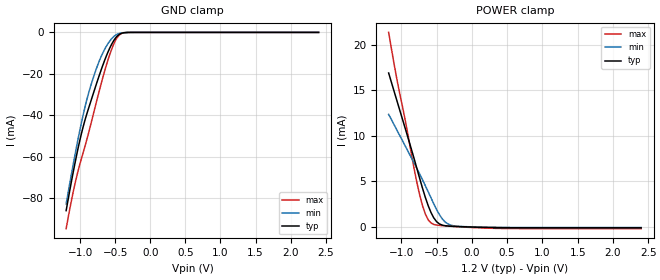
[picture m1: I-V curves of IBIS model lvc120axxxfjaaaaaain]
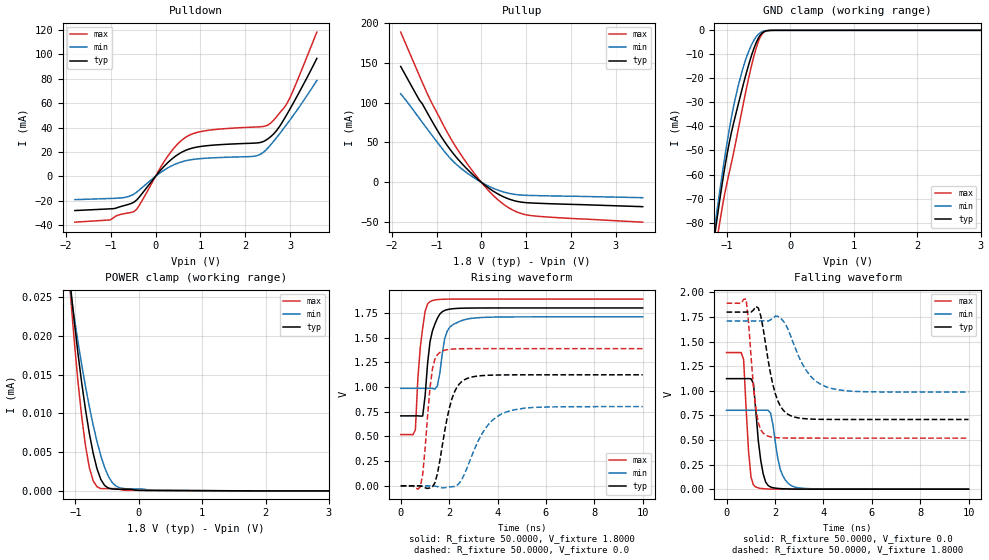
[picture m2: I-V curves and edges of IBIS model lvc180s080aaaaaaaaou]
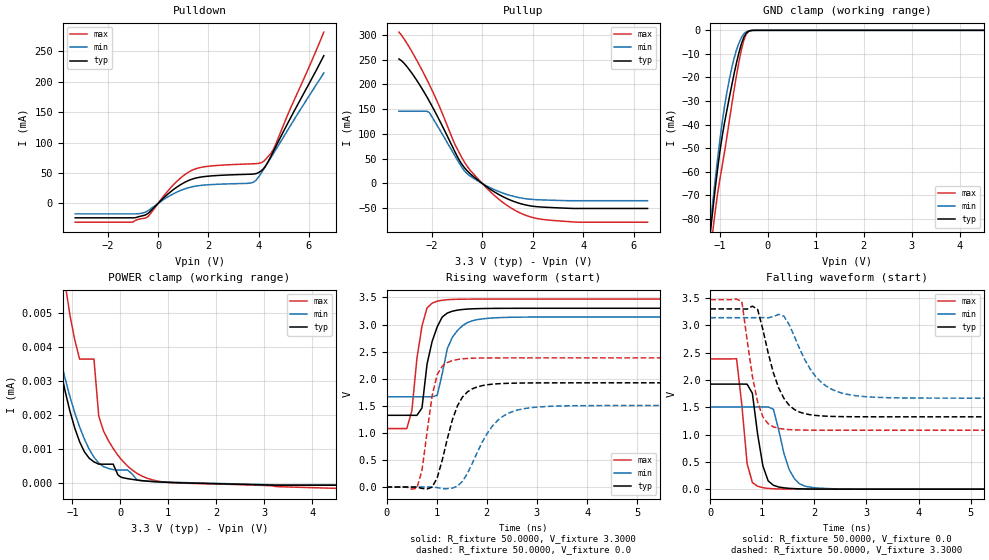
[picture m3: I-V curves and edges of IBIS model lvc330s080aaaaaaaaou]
| IBIS Models Generator: Lattice Diamond (64-bit) 3.12.1.454
| Generate date: Thu Oct 06 10:38:56 2022
| IBIS File LibisMaker.ibs
| LibisGen v2.0.1.0, 02/25/2008, Lattice Semiconductor Corporation
| Modified by LibisMaker v2.0.1.0, 02/25/2008, Lattice Semiconductor
| North Carolina State University, ERL, 2006
[IBIS ver]   3.2
[File Name]   common_impl1.ibs
[File Rev]   3.5
[Date]   Thu Sep 10 07:33:23 PDT 2020
[Source]   Lattice Semiconductor cs200fl Process
   LCMXO2-2000ZE   FINAL
   Lattice Semiconductor has worked hard to ensure the
   models below are accurate and complete.  However, the
   data below was generated using simulation of the
   input/output model files for the silicon.  Therefore,
   the data below is for reference and initial design
   purposes only.
   Lattice Semiconductor grants permission to use this
   data for use in printed circuit design using this
   Lattice programmable logic device.  Other use of this
   code, including the selling or duplication of any
   portion is strictly prohibited.
|   NAMING CONVENTION
   The IBIS [Model] header is limited by the specification to a
   total of characters.  With such a set of characters available
   for naming models it becomes important to attempt to
   meaningfully encode the IO standards so they fit within the
   twenty character limit.  It would seem that twenty characters
   would provide room enough for describing IO's.  However, the
   PLD IO structure continues to grow more and more complex.  The
   complexity is making the twenty characters insuffiently
   descriptive.  In order to overcome this issue the naming
   convention described below is implemented to resolve the issue.
The twenty character space is managed as follows:
   bbbvvvsdddprugtcoixx
   b = standard
   v = voltage (x.xx V)
   s = slew code
   d = drive (xx.x ma)
   p = pullup code
   r = series resistance  or bank_vccio code
   u = terminate to vcc code
   g = terminate to gnd code
   t = terminate to vtt code
   c = common mode termination mode
   o = diff resistor code
   i = diff resistor current code
   x = reserved
   standard
   lvcmos   lvc
   lvcmosd   lvd
   lvcmosr   lvr
   lvds25e   lve
   lvttl   lvt
   lvttld   ltd
   pci   pci
   sstl_I   ss1
   sstl_II   ss2
   sstld_I   s1d
   sstld_II   s2d
   hstl_i   hs1
   hstl_ii   hs2
   hstld_i   h1d
   hstld_ii   h2d
   lvds25   lvs
   blvds25   blv
   blvds25e   blv
   mlvds25   mlv
   mlvds25e   mlv
   lvpecl33   lvp
   lvpecl33e   lvp
   rsds25   rsd
   rsds25e   rse
   mipi   mip
   mipi_lp   mip
   vref1   vr1
   vref2   vr2
   ref_res   rer
   slew
   na   a
   fast   f
   slow   s
   pullmode
   off   a
   pullup   b
   pulldown   c
   bushold   d
   clamp   e
   up_clamp   f
   down_clamp   g
   keeper_clamp   h
   impedance or Bank_vccio
   off   a
   25   b
   33   c
   50   d
   100   e
   3.3   f
   2.5   g
   1.8   h
   1.5   i
   1.2   j
   termVCC
   off   a
   50   b
   100   c
   120   d
   termGND
   off   a
   50   b
   100   c
   120   d
   termVTT
   off   a
   60   b
   75   c
   120   d
   150   e
   210   f
   VCMT
   off   a
   VCMT   b
   VTT   c
   DDR-2   d
   differential resistor
   off   a
   100   b
   diff drive
   NA   a
   2.0   b
   3.5   c
   1.25   f
   2.5   g
   Reserved   IO type
   in   input only
   ou   output
   io   I/O
   od   Open drain
   on   Inverting differential I/O
   (signal name only)
   op   Non-Inverting differential I/O
   (signal name only)
   Lattice Semiconductor Corporation
   5555 NE Moore Court
   Hillsboro, OR 97214
   U.S.A
   TEL: 1-800-Lattice (USA and Canada)
   408-826-6000 (other locations)
   web: http://www.latticesemi.com/
   email: techsupport@latticesemi.com
[Disclaimer] This IBIS source code is intended as a design reference
   which illustrates how the Lattice Semiconductor device operates.
   It is the user's responsibility to verify their design for
   consistency and functionality through the use of formal
   verification methods.  Lattice Semiconductor provides no warranty
   regarding the use or functionality of this data.
[Copyright]   Copyright 2007 by Lattice Semiconductor Corporation
|   Component XO2
[Component]   XO2
[Manufacturer]   Lattice Semiconductor Corp.
[Package]
|TQFP100
| variable   typ   min   max
R_pkg   150.5m   124.0m   187.0m
L_pkg   6.27nH   5.50nH   7.16nH
C_pkg   0.95pF   0.87pF   1.07pF
[Pin] signal_name   model_name   R_pin   L_pin   C_pin
97   i_duty[0]   lvc120axxxfjaaaaaain
98   i_duty[1]   lvc120axxxfjaaaaaain
99   i_duty[2]   lvc120axxxfjaaaaaain
87   i_idle[0]   lvc120axxxfjaaaaaain
88   i_idle[1]   lvc120axxxfjaaaaaain
96   i_idle[2]   lvc120axxxfjaaaaaain
78   i_rst_n   lvc120axxxfjaaaaaain
77   i_start_btn   lvc120axxxfjaaaaaain
76   i_stop_btn   lvc120axxxfjaaaaaain
40   o_ano_bot   lvc180s080aaaaaaaaou
39   o_ano_top   lvc180s080aaaaaaaaou
42   o_cat_bot   lvc180s080aaaaaaaaou
41   o_cat_top   lvc180s080aaaaaaaaou
43   o_curr_ena   lvc180s080aaaaaaaaou
14   o_led_b   lvc330s080aaaaaaaaou
13   o_led_g   lvc330s080aaaaaaaaou
12   o_led_r   lvc330s080aaaaaaaaou
| Models and submodels in the file (3): lvc120axxxfjaaaaaain (Input), lvc180s080aaaaaaaaou (Output), lvc330s080aaaaaaaaou (Output)
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[Model]   lvc120axxxfjaaaaaain
Model_type   Input
Polarity   Non-Inverting
Enable   Active-Low
Vinl =   0.4200V
Vinh =   0.7800V
C_comp   4.2000pF   3.8000pF   7.5000pF
[Temperature Range]   25.0000   0.1050k   -40.0000
[Voltage Range]   1.2000V   1.1400V   1.2600V
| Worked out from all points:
|   GND clamp passes 1 mA (typ) near -0.44 V on its own axis
|   POWER clamp passes 1 mA (typ) near -0.54 V on its own axis
[GND_clamp]
|Voltage   I(typ)   I(min)   I(max)
-1.2V     -86.02mA   -82.79mA   -94.71mA
-1.1V     -67.56mA   -63.82mA   -77.09mA
-1V       -51.39mA   -46.46mA   -63.03mA
-920mV    -41mA      -34.44mA   -53.57mA
-840mV    -32.38mA   -24.74mA   -43.21mA
-740mV    -21.97mA   -14.85mA   -29.81mA
-640mV    -12.51mA   -7.478mA   -17.38mA
-580mV    -7.694mA   -4.26mA    -10.86mA
-520mV    -3.881mA   -1.989mA   -5.509mA
-440mV    -930.4uA   -470.4uA   -1.205mA
-300mV    -18.88uA   -16.34uA   -15.3uA
2.4V      0A         0A         0A
[POWER_clamp]
|Voltage   I(typ)   I(min)   I(max)
-1.18V    16.9mA     12.36mA    21.36mA
-1.06V    13.79mA    10.6mA     16.09mA
-940mV    10.69mA    8.822mA    11.54mA
-780mV    6.439mA    6.432mA    4.901mA
-700mV    4.263mA    5.185mA    2.349mA
-660mV    3.26mA     4.54mA     1.432mA
-580mV    1.601mA    3.213mA    447.8uA
-500mV    588.9uA    1.919mA    217.5uA
-420mV    211.3uA    900.6uA    152uA
-340mV    113.8uA    341.1uA    106.5uA
-260mV    75.42uA    135.6uA    65.45uA
2.4V      -83.82uA   -52.45uA   -176.9uA
[Model]   lvc180s080aaaaaaaaou
Model_type   Output
Polarity   Non-Inverting
Enable   Active-Low
Vmeas =   0.9000V
Cref =   0.0F
Rref =   1.0000M
Vref =   0.0V
C_comp   4.2000pF   3.8000pF   7.5000pF
[Temperature Range]   25.0000   0.1050k   -40.0000
[Voltage Range]   1.8000V   1.7100V   1.8900V
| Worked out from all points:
|   slope of the pulldown table from 0 to 0.27 V, typ, clamps not added: 24.3 ohm
|   slope of the pullup table from 0 to 0.27 V, typ, clamps not added: 24.1 ohm
|   GND clamp passes 1 mA (typ) near -0.44 V on its own axis
|   rising waveform, R_fixture 50.0000, V_fixture 1.8000: 20-80 % time 317ps typ, 313ps min, 267ps max; typ from 0.708 V to 1.8 V
|   rising waveform, R_fixture 50.0000, V_fixture 0.0: 20-80 % time 550ps typ, 995ps min, 303ps max; typ from 0 V to 1.12 V
|   falling waveform, R_fixture 50.0000, V_fixture 0.0: 20-80 % time 290ps typ, 361ps min, 202ps max; typ from 1.12 V to 0 V
|   falling waveform, R_fixture 50.0000, V_fixture 1.8000: 20-80 % time 532ps typ, 904ps min, 295ps max; typ from 1.8 V to 0.708 V
[Pulldown]
|Voltage   I(typ)   I(min)   I(max)
-1.8V     -28.04mA   -19.11mA   -37.59mA
-1.02V    -26.67mA   -18.17mA   -35.8mA
-480mV    -21.13mA   -14.49mA   -28.87mA
-360mV    -16.89mA   -11.13mA   -23.66mA
300mV     12.14mA    7.44mA     17.93mA
720mV     22mA       13.12mA    33.05mA
1.2V      25.28mA    15.01mA    37.83mA
2.22V     27.25mA    16.59mA    40.4mA
2.4V      28.42mA    19.5mA     40.82mA
2.58V     32.82mA    26.26mA    43.97mA
3V        55.16mA    46.16mA    64.46mA
3.6V      96.65mA    78.54mA    118.2mA
[Pullup]
|Voltage   I(typ)   I(min)   I(max)
-1.8V     145.2mA    111mA      188.3mA
-1.38V    102.7mA    79.92mA    133.3mA
-1.2V     86.47mA    66.31mA    110.3mA
-900mV    57.64mA    44.09mA    77.35mA
-660mV    38.42mA    28.01mA    52.66mA
-360mV    19.03mA    13.42mA    26.77mA
0V        -3.621nA   -3.321nA   -5.23nA
240mV     -10.15mA   -6.836mA   -15.04mA
480mV     -17.78mA   -11.81mA   -26.87mA
780mV     -23.67mA   -15.37mA   -36.89mA
1.08V     -25.78mA   -16.44mA   -41.49mA
3.6V      -30.51mA   -19.25mA   -49.97mA
[GND_clamp]
|Voltage   I(typ)   I(min)   I(max)
-1.8V     -240.2mA   -229.4mA   -254.3mA
-1.2V     -86.16mA   -82.91mA   -94.88mA
-1.17V    -80.45mA   -77.09mA   -89.3mA
-1.11V    -69.45mA   -65.77mA   -78.87mA
-1.02V    -54.48mA   -49.86mA   -65.69mA
-930mV    -42.25mA   -35.9mA    -54.92mA
-780mV    -26.14mA   -18.58mA   -35.25mA
-690mV    -17.13mA   -10.87mA   -23.53mA
-570mV    -7.024mA   -3.834mA   -9.978mA
-450mV    -1.176mA   -584.6uA   -1.582mA
-300mV    -18.65uA   -15.9uA    -16.44uA
3.6V      0A         0A         0A
[POWER_clamp]
|Voltage   I(typ)   I(min)   I(max)
-1.8V     102.4uA    78.03uA    133.9uA
-1.08V    26.57uA    25.91uA    25.52uA
-1.02V    21.97uA    22.48uA    19.46uA
-960mV    17.73uA    19.24uA    14.09uA
-840mV    10.4uA     13.41uA    5.721uA
-780mV    7.367uA    10.82uA    2.953uA
-660mV    2.828uA    6.356uA    502.7nA
-600mV    1.45uA     4.526uA    261.9nA
-480mV    332.2nA    1.843uA    261.9nA
-360mV    177.6nA    587.2nA    261.9nA
-240mV    177.6nA    270.7nA    57.44nA
3.6V      -31nA      -27.04nA   -40.53nA
[Ramp]
| variable   typ   min   max
dV/dt_r  0.6610/0.5441n   0.4811/0.9851n   0.8331/0.2999n
dV/dt_f  0.6551/0.5269n   0.4337/0.8944n   0.8227/0.2917n
R_load = 50.0000
[Rising Waveform]
R_fixture=   50.0000
V_fixture=   1.8000
V_fixture_min=   1.7100
V_fixture_max=   1.8900
|time   V(typ)   V(min)   V(max)
0s        708.2mV    987.1mV    518.8mV
606.1ps   708.2mV    987.1mV    565.4mV
707.1ps   708.5mV    987.1mV    1.08V
808.1ps   705.9mV    987.1mV    1.399V
909.1ps   707mV      987.1mV    1.601V
1.212ns   1.459V     988.1mV    1.865V
1.515ns   1.696V     1.011V     1.885V
1.919ns   1.783V     1.564V     1.889V
2.525ns   1.798V     1.673V     1.89V
10ns      1.8V       1.71V      1.89V
[Rising Waveform]
R_fixture=   50.0000
V_fixture=   0.0
V_fixture_min=   0.0
V_fixture_max=   0.0
|time   V(typ)   V(min)   V(max)
0s        416.8nV    613.5nV    315.6nV
808.1ps   -1.039mV   1.182uV    -11.37mV
909.1ps   -6.19mV    12.11uV    116.2mV
1.313ns   -8.391mV   -721.4uV   1.187V
1.717ns   406.1mV    -20.81mV   1.365V
2.222ns   950.3mV    -5.742mV   1.385V
2.828ns   1.094V     235.6mV    1.388V
3.535ns   1.118V     593.3mV    1.389V
4.444ns   1.123V     753.5mV    1.389V
10ns      1.124V     801.8mV    1.389V
[Falling Waveform]
R_fixture=   50.0000
V_fixture=   0.0
V_fixture_min=   0.0
V_fixture_max=   0.0
|time   V(typ)   V(min)   V(max)
0s        1.124V     801.8mV    1.389V
707.1ps   1.124V     801.8mV    1.315V
909.1ps   1.124V     801.8mV    387.8mV
1.01ns    1.122V     801.8mV    123.7mV
1.212ns   788.3mV    801.8mV    21.25mV
1.515ns   155.1mV    802.2mV    4.899mV
1.818ns   22.23mV    773.6mV    1.2mV
2.222ns   5.808mV    201.3mV    223.4uV
2.727ns   1.36mV     29.64mV    55.95uV
10ns      -7.639uV   31.92uV    -3.753uV
[Falling Waveform]
R_fixture=   50.0000
V_fixture=   1.8000
V_fixture_min=   1.7100
V_fixture_max=   1.8900
|time   V(typ)   V(min)   V(max)
0s        1.8V       1.71V      1.89V
808.1ps   1.8V       1.71V      1.932V
1.212ns   1.857V     1.71V      814.1mV
1.414ns   1.761V     1.711V     603.6mV
1.616ns   1.471V     1.71V      549.8mV
2.121ns   896.9mV    1.757V     522.5mV
2.727ns   739.1mV    1.507V     519.2mV
3.434ns   713.1mV    1.161V     518.9mV
4.242ns   709mV      1.031V     518.8mV
10ns      708.2mV    987.1mV    518.8mV
[Model]   lvc330s080aaaaaaaaou
Model_type   Output
Polarity   Non-Inverting
Enable   Active-Low
Vmeas =   1.500000V
Cref =   0.0F
Rref =   1.0000M
Vref =   0.0V
C_comp   4.2000pF   3.8000pF   7.5000pF
[Temperature Range]   25.0000   0.1050k   -40.0000
[Voltage Range]   3.3000V   3.1400V   3.4700V
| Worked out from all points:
|   slope of the pulldown table from 0 to 0.495 V, typ, clamps not added: 26 ohm
|   slope of the pullup table from 0 to 0.495 V, typ, clamps not added: 28.5 ohm
|   GND clamp passes 1 mA (typ) near -0.44 V on its own axis
|   rising waveform, R_fixture 50.0000, V_fixture 3.3000: 20-80 % time 251ps typ, 301ps min, 192ps max; typ from 1.32 V to 3.3 V
|   rising waveform, R_fixture 50.0000, V_fixture 0.0: 20-80 % time 363ps typ, 551ps min, 235ps max; typ from 0 V to 1.92 V
|   falling waveform, R_fixture 50.0000, V_fixture 0.0: 20-80 % time 188ps typ, 267ps min, 144ps max; typ from 1.92 V to 0 V
|   falling waveform, R_fixture 50.0000, V_fixture 3.3000: 20-80 % time 370ps typ, 535ps min, 253ps max; typ from 3.3 V to 1.32 V
[Pulldown]
|Voltage   I(typ)   I(min)   I(max)
-3.3V     -23.68mA   -17.2mA    -30.83mA
-1.1V     -23.68mA   -17.2mA    -30.83mA
-500mV    -18.89mA   -14.22mA   -24.07mA
-400mV    -16.44mA   -11.92mA   -21.58mA
600mV     22.43mA    15.62mA    30.22mA
1.3V      39.15mA    26.81mA    53.52mA
2V        44.82mA    30.69mA    61.1mA
3.7V      48.02mA    33.59mA    65.1mA
3.9V      48.94mA    38.13mA    65.35mA
4.2V      57.11mA    55.89mA    69.15mA
4.6V      86.19mA    82.47mA    89.45mA
6.6V      242.9mA    214.5mA    281.7mA
[Pullup]
|Voltage   I(typ)   I(min)   I(max)
-3.3V     251.3mA    145.8mA    305.6mA
-2.8V     223.5mA    145.8mA    267.3mA
-2.1V     166.4mA    143.5mA    200mA
-1.7V     127.9mA    109.7mA    155.7mA
-1.1V     65.82mA    57.34mA    80.93mA
-700mV    31.56mA    25.14mA    42.75mA
100mV     -3.836mA   -2.847mA   -5.414mA
800mV     -26.11mA   -19.07mA   -37.53mA
1.5V      -40.43mA   -28.94mA   -59.42mA
2.3V      -47.34mA   -33.02mA   -71.88mA
3.8V      -50.39mA   -34.76mA   -78.11mA
6.55V     -50.39mA   -34.76mA   -78.11mA
[GND_clamp]
|Voltage   I(typ)   I(min)   I(max)
-3.3V     -955.3mA   -930.3mA   -978mA
-1.2V     -86.18mA   -82.93mA   -94.91mA
-1.15V    -76.73mA   -73.29mA   -85.74mA
-1.1V     -67.71mA   -63.95mA   -77.28mA
-1V       -51.52mA   -46.57mA   -63.21mA
-900mV    -38.87mA   -31.88mA   -51.26mA
-800mV    -28.25mA   -20.58mA   -37.97mA
-700mV    -18.1mA    -11.63mA   -24.81mA
-600mV    -9.267mA   -5.265mA   -13.06mA
-450mV    -1.181mA   -586.6uA   -1.592mA
-250mV    -3.532uA   -4.055uA   -3.003uA
6.6V      0A         0A         0A
[POWER_clamp]
|Voltage   I(typ)   I(min)   I(max)
-3.25V    664.8uA    749.4uA    597.1uA
-1.55V    5.914uA    5.712uA    11.4uA
-1.45V    4.987uA    4.974uA    9.751uA
-1.15V    2.703uA    3.073uA    5.863uA
-850mV    1.226uA    1.662uA    3.655uA
-550mV    631.3nA    766.5nA    3.655uA
-450mV    563.6nA    595.5nA    1.977uA
-150mV    563.6nA    404.4nA    1.026uA
0V        190.5nA    391.2nA    734.7nA
450mV     79.23nA    72.94nA    213.9nA
950mV     30.32nA    38.42nA    33.55nA
6.6V      -57.56nA   -49.34nA   -232.5nA
[Ramp]
| variable   typ   min   max
dV/dt_r  1.1542/0.3590n   0.9035/0.5460n   1.4308/0.2329n
dV/dt_f  1.1855/0.3662n   0.8843/0.5297n   1.4345/0.2507n
R_load = 50.0000
[Rising Waveform]
R_fixture=   50.0000
V_fixture=   3.3000
V_fixture_min=   3.1400
V_fixture_max=   3.4700
|time   V(typ)   V(min)   V(max)
0s        1.324V     1.666V     1.079V
404ps     1.324V     1.666V     1.079V
505.1ps   1.324V     1.666V     1.407V
606.1ps   1.323V     1.666V     2.373V
707.1ps   1.46V      1.666V     2.973V
808.1ps   2.269V     1.667V     3.306V
1.01ns    2.956V     1.691V     3.43V
1.313ns   3.246V     2.765V     3.463V
1.818ns   3.293V     3.091V     3.469V
10ns      3.3V       3.14V      3.47V
[Rising Waveform]
R_fixture=   50.0000
V_fixture=   0.0
V_fixture_min=   0.0
V_fixture_max=   0.0
|time   V(typ)   V(min)   V(max)
0s        830nV      1.065uV    812.2nV
606.1ps   -647.3uV   2.343uV    -19.28mV
707.1ps   -25.56mV   18.24uV    307.2mV
909.1ps   -1.644mV   -352.6uV   1.685V
1.01ns    168.3mV    -10.05mV   2.075V
1.313ns   1.24V      -19.03mV   2.334V
1.717ns   1.816V     450.2mV    2.378V
2.121ns   1.9V       1.136V     2.384V
2.727ns   1.921V     1.444V     2.385V
10ns      1.924V     1.506V     2.385V
[Falling Waveform]
R_fixture=   50.0000
V_fixture=   0.0
V_fixture_min=   0.0
V_fixture_max=   0.0
|time   V(typ)   V(min)   V(max)
0s        1.924V     1.506V     2.385V
505.1ps   1.924V     1.506V     2.387V
707.1ps   1.923V     1.506V     469.1mV
808.1ps   1.757V     1.506V     123.1mV
1.01ns    427.9mV    1.507V     27.45mV
1.212ns   71.02mV    1.464V     7.412mV
1.414ns   24.43mV    655.3mV    2.129mV
1.616ns   9.884mV    189mV      652.9uV
1.919ns   2.628mV    35.9mV     184.5uV
10ns      -6.753uV   -8.585uV   -14.06uV
[Falling Waveform]
R_fixture=   50.0000
V_fixture=   3.3000
V_fixture_min=   3.1400
V_fixture_max=   3.4700
|time   V(typ)   V(min)   V(max)
0s        3.3V       3.14V      3.47V
606.1ps   3.3V       3.14V      3.436V
808.1ps   3.351V     3.14V      2.072V
909.1ps   3.292V     3.14V      1.597V
1.111ns   2.497V     3.138V     1.198V
1.313ns   1.855V     3.2V       1.113V
1.616ns   1.458V     2.796V     1.086V
2.02ns    1.35V      2.067V     1.08V
2.626ns   1.327V     1.737V     1.079V
10ns      1.324V     1.666V     1.079V
